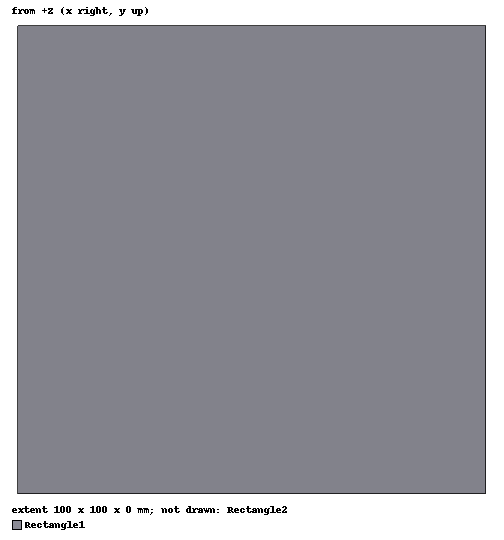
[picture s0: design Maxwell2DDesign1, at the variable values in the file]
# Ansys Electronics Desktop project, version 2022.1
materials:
  vacuum: permittivity=1
  iron: permeability=4000 conductivity=10300000

design Maxwell2DDesign1 (Maxwell 2D, Electrostatic, XY geometry, model units mm)
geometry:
  plane Plane1 = base (0mm, 0mm, 0mm) normal (100mm, 0mm, 0mm)
  plane Plane2 = base (0mm, 0mm, 0mm) normal (50mm, 50mm, 0mm)
  Rectangle1 [iron] = rectangle(corner=(0mm, 0mm, 0mm), x_size=100mm, y_size=100mm)
  Rectangle2 [vacuum] = rectangle(corner=(-200mm, -200mm, 0mm), x_size=500mm, y_size=500mm)
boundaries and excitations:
  Voltage1: Voltage Edges=Rectangle1.edge(all 4) Value=100V
  Voltage2: Voltage Edges=Rectangle2.edge(all 4) Value=0V
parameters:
  Matrix1: Matrix Voltage1: NumberOfTurns=1
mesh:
  initial mesh: MeshMethod=AnsoftTAU
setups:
  Setup1: Electrostatic MaximumPasses=10 MinimumPasses=2 MinimumConvergedPasses=1 PercentRefinement=30 PercentError=1 NonLinearResidual=0.001
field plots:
  Voltage1: Voltage over Rectangle2 on Setup1 : LastAdaptive
